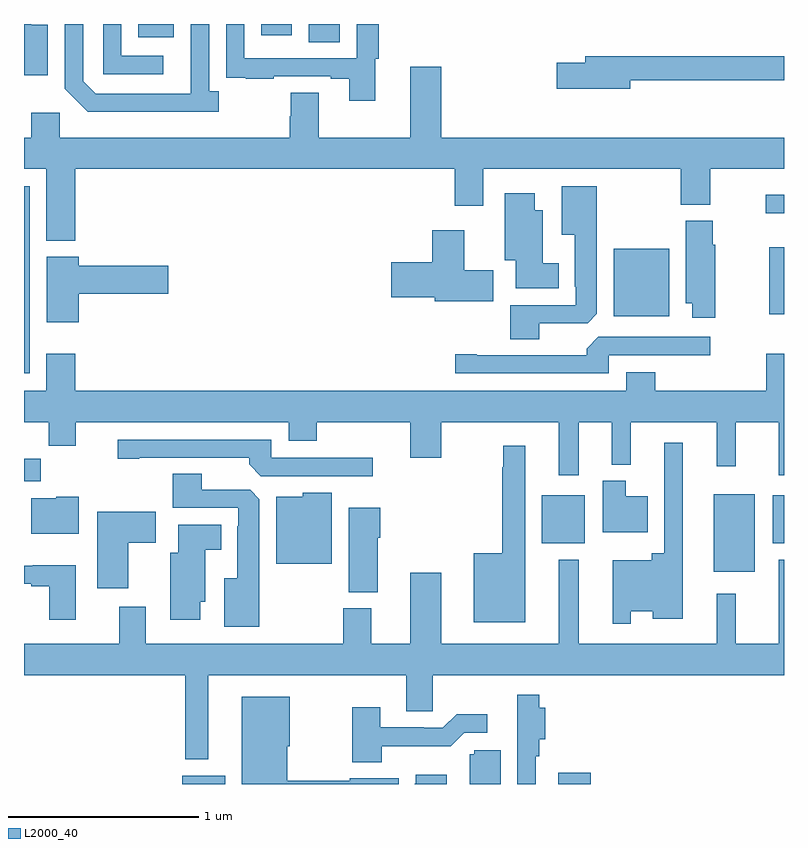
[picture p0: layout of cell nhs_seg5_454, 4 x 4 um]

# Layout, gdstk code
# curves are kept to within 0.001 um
import gdstk
lib = gdstk.Library(unit=1e-6, precision=1e-09)
def R(c, l, rs):  # rectangles x0, y0, x1, y1
    for r in rs: c.add(gdstk.rectangle(r[:2], r[2:], *l))
def P(c, l, *ps):  # polygons
    for p in ps: c.add(gdstk.Polygon(p, *l))
L2000_40 = (2000, 40)

nhs_seg5_454 = lib.new_cell('nhs_seg5_454')
R(nhs_seg5_454, L2000_40, [(139.832,910.799,140.059,910.843), (141.812,910.799,141.983,910.858), (142.631,911.915,142.846,912.325), (141.725,912.065,141.952,912.319), (142.94,912.065,143,912.319), (139,912.392,139.088,912.51), (139,912.96,139.029,913.944), (142.103,913.262,142.396,913.615), (142.922,913.272,143,913.624), (142.905,913.803,143,913.9), (140.498,914.704,140.662,914.799), (139.601,914.729,139.789,914.799), (140.249,914.739,140.41,914.799)])
P(nhs_seg5_454, L2000_40, [(140.026,914.446),(139.974,914.446),(139.974,914.799),(139.878,914.799),(139.877,914.433),(139.377,914.433),(139.311,914.499),(139.311,914.799),(139.215,914.799),(139.215,914.457),(139.336,914.336),(140.026,914.336)],
  [(140.849,914.616),(140.867,914.616),(140.867,914.799),(140.751,914.799),(140.751,914.619),(140.16,914.619),(140.16,914.799),(140.064,914.799),(140.064,914.626),(140.065,914.626),(140.065,914.517),(140.167,914.517),(140.167,914.511),(140.315,914.511),(140.315,914.523),(140.615,914.523),(140.615,914.511),(140.711,914.511),(140.711,914.394),(140.849,914.394)],
  [(139.126,914.794),(139.037,914.794),(139.037,914.799),(139,914.799),(139,914.53),(139.126,914.53)],
  [(139.732,914.631),(139.512,914.631),(139.512,914.799),(139.416,914.799),(139.416,914.535),(139.732,914.535)],
  [(142.192,914.502),(143,914.502),(143,914.63),(141.953,914.63),(141.953,914.594),(141.804,914.594),(141.804,914.459),(142.192,914.459)],
  [(141.196,914.575),(141.032,914.575),(141.032,914.2),(140.551,914.2),(140.551,914.438),(140.404,914.438),(140.404,914.313),(140.399,914.313),(140.399,914.2),(139.188,914.2),(139.188,914.332),(139.037,914.332),(139.037,914.2),(139,914.2),(139,914.036),(139.118,914.036),(139.118,913.658),(139.271,913.658),(139.271,914.036),(141.266,914.036),(141.266,913.842),(141.418,913.842),(141.418,914.036),(142.456,914.036),(142.456,913.849),(142.611,913.849),(142.611,914.036),(143,914.036),(143,914.2),(141.196,914.2)],
  [(141.712,913.224),(141.966,913.224),(142.015,913.273),(142.015,913.945),(141.83,913.945),(141.83,913.691),(141.899,913.691),(141.899,913.417),(141.903,913.417),(141.903,913.32),(141.56,913.32),(141.56,913.141),(141.712,913.141)],
  [(141.814,913.54),(141.73,913.54),(141.73,913.819),(141.688,913.819),(141.688,913.909),(141.53,913.909),(141.53,913.556),(141.587,913.556),(141.587,913.409),(141.814,913.409)],
  [(142.639,913.638),(142.626,913.638),(142.626,913.764),(142.484,913.764),(142.484,913.328),(142.517,913.328),(142.517,913.254),(142.639,913.254)],
  [(141.469,913.503),(141.316,913.503),(141.316,913.714),(141.149,913.714),(141.149,913.544),(140.934,913.544),(140.934,913.361),(141.161,913.361),(141.161,913.34),(141.469,913.34)],
  [(139.288,913.379),(139.759,913.379),(139.759,913.526),(139.288,913.526),(139.288,913.573),(139.121,913.573),(139.121,913.23),(139.288,913.23)],
  [(142.077,913.056),(142.612,913.056),(142.612,913.152),(142.023,913.152),(141.962,913.09),(141.962,913.056),(141.382,913.056),(141.382,913.061),(141.27,913.061),(141.27,912.96),(142.077,912.96)],
  [(139.271,913.063),(139.118,913.063),(139.118,912.868),(139,912.868),(139,912.704),(139.129,912.704),(139.129,912.58),(139.273,912.58),(139.273,912.704),(140.393,912.704),(140.393,912.605),(140.541,912.605),(140.541,912.704),(141.032,912.704),(141.032,912.516),(141.196,912.516),(141.196,912.704),(141.815,912.704),(141.815,912.423),(141.919,912.423),(141.919,912.704),(142.094,912.704),(142.094,912.479),(142.193,912.479),(142.193,912.704),(142.646,912.704),(142.646,912.471),(142.746,912.471),(142.746,912.704),(142.973,912.704),(142.973,912.423),(143,912.423),(143,913.063),(142.906,913.063),(142.906,912.868),(142.322,912.868),(142.322,912.967),(142.169,912.967),(142.169,912.868),(139.271,912.868)],
  [(140.836,912.516),(140.301,912.516),(140.301,912.612),(139.494,912.612),(139.494,912.511),(139.606,912.511),(139.606,912.516),(140.186,912.516),(140.186,912.482),(140.247,912.42),(140.836,912.42)],
  [(142.194,911.708),(142.31,911.708),(142.31,911.669),(142.468,911.669),(142.468,912.595),(142.371,912.595),(142.371,912.013),(142.303,912.013),(142.303,911.977),(142.098,911.977),(142.098,911.643),(142.194,911.643)],
  [(141.637,912.58),(141.523,912.58),(141.523,912.467),(141.516,912.467),(141.516,912.013),(141.368,912.013),(141.368,911.651),(141.637,911.651)],
  [(140.239,912.299),(140.19,912.348),(139.936,912.348),(139.936,912.431),(139.784,912.431),(139.784,912.252),(140.127,912.252),(140.127,912.155),(140.123,912.155),(140.123,911.881),(140.054,911.881),(140.054,911.627),(140.239,911.627)],
  [(142.282,912.313),(142.168,912.313),(142.168,912.394),(142.046,912.394),(142.046,912.125),(142.282,912.125)],
  [(140.62,912.331),(140.466,912.331),(140.466,912.31),(140.327,912.31),(140.327,911.957),(140.62,911.957)],
  [(139.288,912.31),(139.17,912.31),(139.17,912.304),(139.037,912.304),(139.037,912.116),(139.288,912.116)],
  [(140.863,912.095),(140.876,912.095),(140.876,912.253),(140.708,912.253),(140.708,911.809),(140.863,911.809)],
  [(139.549,912.07),(139.693,912.07),(139.693,912.232),(139.385,912.232),(139.385,911.829),(139.549,911.829)],
  [(139.927,911.757),(139.954,911.757),(139.954,912.032),(140.038,912.032),(140.038,912.163),(139.811,912.163),(139.811,912.016),(139.769,912.016),(139.769,911.664),(139.927,911.664)],
  [(141.15,911.372),(143,911.372),(143,911.98),(142.973,911.98),(142.973,911.536),(142.746,911.536),(142.746,911.8),(142.646,911.8),(142.646,911.536),(141.919,911.536),(141.919,911.98),(141.815,911.98),(141.815,911.536),(141.196,911.536),(141.196,911.911),(141.032,911.911),(141.032,911.536),(140.827,911.536),(140.827,911.724),(140.68,911.724),(140.68,911.536),(139.642,911.536),(139.642,911.731),(139.502,911.731),(139.502,911.536),(139,911.536),(139,911.372),(139.848,911.372),(139.848,910.928),(139.969,910.928),(139.969,911.372),(141.011,911.372),(141.011,911.182),(141.15,911.182)],
  [(139.273,911.95),(139.045,911.95),(139.045,911.949),(139,911.949),(139,911.853),(139.037,911.853),(139.037,911.841),(139.133,911.841),(139.133,911.664),(139.273,911.664)],
  [(141.693,910.946),(141.713,910.946),(141.713,911.035),(141.743,911.035),(141.743,911.2),(141.713,911.2),(141.713,911.269),(141.596,911.269),(141.596,911.046),(141.597,911.046),(141.597,910.799),(141.693,910.799)],
  [(140.972,910.828),(140.714,910.828),(140.714,910.817),(140.386,910.817),(140.386,910.998),(140.398,910.998),(140.398,911.257),(140.147,911.257),(140.147,910.799),(140.972,910.799)],
  [(140.883,910.998),(141.245,910.998),(141.318,911.07),(141.439,911.07),(141.439,911.167),(141.277,911.167),(141.204,911.094),(141.104,911.094),(141.104,911.097),(140.875,911.097),(140.875,911.203),(140.728,911.203),(140.728,910.913),(140.883,910.913)],
  [(141.508,910.977),(141.369,910.977),(141.369,910.956),(141.347,910.956),(141.347,910.799),(141.508,910.799)],
  [(141.226,910.849),(141.062,910.849),(141.062,910.8),(141.057,910.8),(141.057,910.799),(141.226,910.799)])

lib.write_gds('nhs_seg5_454.gds')
